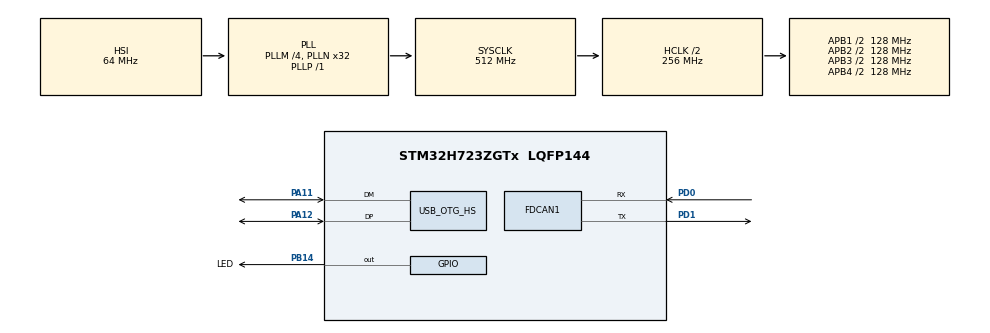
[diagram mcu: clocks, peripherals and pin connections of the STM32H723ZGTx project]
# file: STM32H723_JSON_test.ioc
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CORTEX_M7.default_mode_Activation=1
FDCAN1.CalculateBaudRateNominal=1000000
FDCAN1.CalculateTimeBitNominal=1000
FDCAN1.CalculateTimeQuantumNominal=333.3333333333333
FREERTOS.BinarySemaphores01=usb_tx_sem,Dynamic,NULL,Available
FREERTOS.Tasks01=task_can_handle,41,256,start_task_can_handler,Default,NULL,Dynamic,NULL,NULL;task_usb_handle,42,256,start_task_usb_handler,Default,NULL,Dynamic,NULL,NULL;task_dispatcher,16,2048,start_task_dispatcher,Default,NULL,Dynamic,NULL,NULL;task_watchdog,40,128,start_task_watchdog,Default,NULL,Dynamic,NULL,NULL;task_jobs_monit,8,128,start_task_jobs_monitor,Default,NULL,Dynamic,NULL,NULL;task_logger,9,256,start_task_logger,Default,NULL,Dynamic,NULL,NULL
FREERTOS.configTOTAL_HEAP_SIZE=32768
FREERTOS.configUSE_NEWLIB_REENTRANT=1
Mcu.Family=STM32H7
Mcu.Name=STM32H723ZGTx
Mcu.Package=LQFP144
NVIC.FDCAN1_IT0_IRQn=true\:5\:0\:false\:false\:true\:true\:true\:true\:true
NVIC.FDCAN1_IT1_IRQn=true\:5\:0\:false\:false\:true\:true\:true\:true\:true
NVIC.OTG_HS_IRQn=true\:5\:0\:false\:false\:true\:true\:false\:true\:true
NVIC.PriorityGroup=NVIC_PRIORITYGROUP_4
NVIC.TIM6_DAC_IRQn=true\:15\:0\:false\:false\:true\:false\:false\:true\:true
NVIC.TimeBase=TIM6_DAC_IRQn
NVIC.TimeBaseIP=TIM6
PA11.Mode=Device_Only_FS
PA11.Signal=USB_OTG_HS_DM
PA12.Mode=Device_Only_FS
PA12.Signal=USB_OTG_HS_DP
PB14.GPIO_Label=LED
PB14.Signal=GPIO_Output
PD0.Mode=FDCAN_Activate
PD0.Signal=FDCAN1_RX
PD1.Mode=FDCAN_Activate
PD1.Signal=FDCAN1_TX
ProjectManager.HeapSize=0x200
ProjectManager.StackSize=0x400
ProjectManager.TargetToolchain=STM32CubeIDE
RCC.ADCFreq_Value=96000000
RCC.APB1Freq_Value=128000000
RCC.APB2Freq_Value=128000000
RCC.APB3Freq_Value=128000000
RCC.APB4Freq_Value=128000000
RCC.CortexFreq_Value=512000000
RCC.D1PPRE=RCC_APB3_DIV2
RCC.D2PPRE1=RCC_APB1_DIV2
RCC.D2PPRE2=RCC_APB2_DIV2
RCC.D3PPRE=RCC_APB4_DIV2
RCC.DIVM1=4
RCC.DIVM2=4
RCC.DIVN1=32
RCC.DIVN2=12
RCC.DIVP1=1
RCC.DIVQ1=4
RCC.DIVQ2=4
RCC.FDCANCLockSelection=RCC_FDCANCLKSOURCE_PLL2
RCC.HCLKFreq_Value=256000000
RCC.HPRE=RCC_HCLK_DIV2
RCC.PLLFRACN=0
RCC.SYSCLKFreq_VALUE=512000000
RCC.SYSCLKSource=RCC_SYSCLKSOURCE_PLLCLK
RCC.USBCLockSelection=RCC_USBCLKSOURCE_HSI48
RCC.USBFreq_Value=48000000
USB_DEVICE.CLASS_NAME_HS=CDC
USB_DEVICE.VirtualMode=Cdc
USB_DEVICE.VirtualModeHS=Cdc_HS
USB_OTG_HS.VirtualMode-Device_Only_FS=Device_Only_FS
VP_FREERTOS_VS_CMSIS_V2.Mode=CMSIS_V2
VP_MEMORYMAP_VS_MEMORYMAP.Mode=CurAppReg
VP_SYS_VS_tim6.Mode=TIM6
VP_TIM3_VS_ClockSourceINT.Mode=Internal
VP_USB_DEVICE_VS_USB_DEVICE_CDC_HS.Mode=CDC_HS
board=custom

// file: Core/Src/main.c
/* USER CODE BEGIN Header */
/**
  ******************************************************************************
  * @file           : main.c
  * @brief          : Main program body
  ******************************************************************************
  * @attention
  *
  * Copyright (c) 2025 STMicroelectronics.
  * All rights reserved.
  *
  * This software is licensed under terms that can be found in the LICENSE file
  * in the root directory of this software component.
  * If no LICENSE file comes with this software, it is provided AS-IS.
  *
  ******************************************************************************
  */
/* USER CODE END Header */
#include "main.h"
#include "cmsis_os.h"
#include "usb_device.h"

/* USER CODE BEGIN Includes */
#include "task_dispatcher.h"
#include "task_can_handler.h"
#include "task_usb_handler.h"
#include "task_watchdog.h"
#include "task_jobs_monitor.h"
#include "task_logger.h"
#include "shared_resources.h"
#include "app_config.h"
#include "app_init_checker.h"

/* USER CODE END Includes */

FDCAN_HandleTypeDef hfdcan1;

TIM_HandleTypeDef htim3;

/* Definitions for task_can_handle */
osThreadId_t task_can_handleHandle;
const osThreadAttr_t task_can_handle_attributes = {
  .name = "task_can_handle",
  .stack_size = 256 * 4,
  .priority = (osPriority_t) osPriorityHigh1,
};
/* Definitions for task_usb_handle */
osThreadId_t task_usb_handleHandle;
const osThreadAttr_t task_usb_handle_attributes = {
  .name = "task_usb_handle",
  .stack_size = 256 * 4,
  .priority = (osPriority_t) osPriorityHigh2,
};
/* Definitions for task_dispatcher */
osThreadId_t task_dispatcherHandle;
const osThreadAttr_t task_dispatcher_attributes = {
  .name = "task_dispatcher",
  .stack_size = 2048 * 4,
  .priority = (osPriority_t) osPriorityBelowNormal,
};
/* Definitions for task_watchdog */
osThreadId_t task_watchdogHandle;
const osThreadAttr_t task_watchdog_attributes = {
  .name = "task_watchdog",
  .stack_size = 128 * 4,
  .priority = (osPriority_t) osPriorityHigh,
};
/* Definitions for task_jobs_monit */
osThreadId_t task_jobs_monitHandle;
const osThreadAttr_t task_jobs_monit_attributes = {
  .name = "task_jobs_monit",
  .stack_size = 128 * 4,
  .priority = (osPriority_t) osPriorityLow,
};
/* Definitions for task_logger */
osThreadId_t task_loggerHandle;
const osThreadAttr_t task_logger_attributes = {
  .name = "task_logger",
  .stack_size = 256 * 4,
  .priority = (osPriority_t) osPriorityLow1,
};
/* Definitions for usb_tx_sem */
osSemaphoreId_t usb_tx_semHandle;
const osSemaphoreAttr_t usb_tx_sem_attributes = {
  .name = "usb_tx_sem"
};
/* USER CODE BEGIN PV */

QueueHandle_t usb_rx_queue_handle;
QueueHandle_t usb_tx_queue_handle;
QueueHandle_t can_rx_queue_handle;
QueueHandle_t can_tx_queue_handle;
QueueHandle_t log_queue_handle;

/* USER CODE END PV */

void SystemClock_Config(void);
static void MPU_Config(void);
static void MX_GPIO_Init(void);
static void MX_FDCAN1_Init(void);
static void MX_TIM3_Init(void);
void start_task_can_handler(void *argument);
void start_task_usb_handler(void *argument);
void start_task_dispatcher(void *argument);
void start_task_watchdog(void *argument);
void start_task_jobs_monitor(void *argument);
void start_task_logger(void *argument);

int main(void)
{

  /* MPU Configuration--------------------------------------------------------*/
  MPU_Config();

  /* MCU Configuration--------------------------------------------------------*/

  /* Reset of all peripherals, Initializes the Flash interface and the Systick. */
  HAL_Init();

  /* Configure the system clock */
  SystemClock_Config();

  /* Initialize all configured peripherals */
  MX_GPIO_Init();
  MX_FDCAN1_Init();
  MX_TIM3_Init();
  /* USER CODE BEGIN 2 */

  HAL_TIM_Base_Start(&htim3);

  /* init code for USB_DEVICE */
  //MX_USB_DEVICE_Init();

  /* init code for USB_DEVICE */

  /* USER CODE END 2 */

  /* Init scheduler */
  osKernelInitialize();

  /* Create the semaphores(s) */
  /* creation of usb_tx_sem */
  usb_tx_semHandle = osSemaphoreNew(1, 1, &usb_tx_sem_attributes);

  /* USER CODE BEGIN RTOS_QUEUES */
  /* add queues, ... */
  usb_rx_queue_handle = xQueueCreate(APP_USB_RX_QUEUE_LENGTH, APP_USB_CMD_MAX_LEN); // 10 команд, каждая до 256 байт
  usb_tx_queue_handle = xQueueCreate(APP_USB_TX_QUEUE_LENGTH, APP_USB_RESP_MAX_LEN); // 10 ответов, каждая до 256 байт (пока)

// Для CAN передаются структурированные сообщения.
// Пока что представим, что это будет 8-байтный массив (payload CAN-сообщения).
// Позже мы определим структуру CanMessage_t.
  can_rx_queue_handle = xQueueCreate(APP_CAN_RX_QUEUE_LENGTH, APP_CAN_MESSAGE_MAX_LEN); // 20 CAN-сообщений
  can_tx_queue_handle = xQueueCreate(APP_CAN_TX_QUEUE_LENGTH, APP_CAN_MESSAGE_MAX_LEN); // 20 CAN-сообщений

  //log_queue_handle = xQueueCreate(APP_LOG_QUEUE_LENGTH , APP_LOG_MESSAGE_MAX_LEN); // 30 сообщений для лога, каждое до 128 байт

// Важно: всегда проверяйте, что очереди успешно создались!
// Если какая-либо очередь не создалась (handle == NULL),
// это указывает на нехватку памяти FreeRTOS (heap).

  /*

  if (can_rx_queue_handle == NULL      ||
		  can_tx_queue_handle == NULL  ||
		  usb_rx_queue_handle == NULL  ||
		  usb_tx_queue_handle == NULL)
		  {
	  Error_Handler();
	  }

	  */

// Вызываем функцию проверки всех очередей
 //app_init_checker_verifyqueues();

  /* USER CODE END RTOS_QUEUES */

  /* Create the thread(s) */
  /* creation of task_can_handle */
  task_can_handleHandle = osThreadNew(start_task_can_handler, NULL, &task_can_handle_attributes);

  /* creation of task_usb_handle */
  task_usb_handleHandle = osThreadNew(start_task_usb_handler, NULL, &task_usb_handle_attributes);

  /* creation of task_dispatcher */
  task_dispatcherHandle = osThreadNew(start_task_dispatcher, NULL, &task_dispatcher_attributes);

  /* creation of task_watchdog */
  task_watchdogHandle = osThreadNew(start_task_watchdog, NULL, &task_watchdog_attributes);

  /* creation of task_jobs_monit */
  task_jobs_monitHandle = osThreadNew(start_task_jobs_monitor, NULL, &task_jobs_monit_attributes);

  /* creation of task_logger */
  task_loggerHandle = osThreadNew(start_task_logger, NULL, &task_logger_attributes);

  /* Start scheduler */
  osKernelStart();

  /* We should never get here as control is now taken by the scheduler */

  /* Infinite loop */
  while (1)
  {

  }
}

void SystemClock_Config(void)
{
  RCC_OscInitTypeDef RCC_OscInitStruct = {0};
  RCC_ClkInitTypeDef RCC_ClkInitStruct = {0};

  /** Supply configuration update enable
  */
  HAL_PWREx_ConfigSupply(PWR_LDO_SUPPLY);

  /** Configure the main internal regulator output voltage
  */
  __HAL_PWR_VOLTAGESCALING_CONFIG(PWR_REGULATOR_VOLTAGE_SCALE0);

  while(!__HAL_PWR_GET_FLAG(PWR_FLAG_VOSRDY)) {}

  /** Initializes the RCC Oscillators according to the specified parameters
  * in the RCC_OscInitTypeDef structure.
  */
  RCC_OscInitStruct.OscillatorType = RCC_OSCILLATORTYPE_HSI48|RCC_OSCILLATORTYPE_HSI;
  RCC_OscInitStruct.HSIState = RCC_HSI_DIV1;
  RCC_OscInitStruct.HSICalibrationValue = 64;
  RCC_OscInitStruct.HSI48State = RCC_HSI48_ON;
  RCC_OscInitStruct.PLL.PLLState = RCC_PLL_ON;
  RCC_OscInitStruct.PLL.PLLSource = RCC_PLLSOURCE_HSI;
  RCC_OscInitStruct.PLL.PLLM = 4;
  RCC_OscInitStruct.PLL.PLLN = 32;
  RCC_OscInitStruct.PLL.PLLP = 1;
  RCC_OscInitStruct.PLL.PLLQ = 4;
  RCC_OscInitStruct.PLL.PLLR = 2;
  RCC_OscInitStruct.PLL.PLLRGE = RCC_PLL1VCIRANGE_3;
  RCC_OscInitStruct.PLL.PLLVCOSEL = RCC_PLL1VCOWIDE;
  RCC_OscInitStruct.PLL.PLLFRACN = 0;
  if (HAL_RCC_OscConfig(&RCC_OscInitStruct) != HAL_OK)
  {
    Error_Handler();
  }

  /** Initializes the CPU, AHB and APB buses clocks
  */
  RCC_ClkInitStruct.ClockType = RCC_CLOCKTYPE_HCLK|RCC_CLOCKTYPE_SYSCLK
                              |RCC_CLOCKTYPE_PCLK1|RCC_CLOCKTYPE_PCLK2
                              |RCC_CLOCKTYPE_D3PCLK1|RCC_CLOCKTYPE_D1PCLK1;
  RCC_ClkInitStruct.SYSCLKSource = RCC_SYSCLKSOURCE_PLLCLK;
  RCC_ClkInitStruct.SYSCLKDivider = RCC_SYSCLK_DIV1;
  RCC_ClkInitStruct.AHBCLKDivider = RCC_HCLK_DIV2;
  RCC_ClkInitStruct.APB3CLKDivider = RCC_APB3_DIV2;
  RCC_ClkInitStruct.APB1CLKDivider = RCC_APB1_DIV2;
  RCC_ClkInitStruct.APB2CLKDivider = RCC_APB2_DIV2;
  RCC_ClkInitStruct.APB4CLKDivider = RCC_APB4_DIV2;

  if (HAL_RCC_ClockConfig(&RCC_ClkInitStruct, FLASH_LATENCY_3) != HAL_OK)
  {
    Error_Handler();
  }
}

static void MX_FDCAN1_Init(void)
{

  hfdcan1.Instance = FDCAN1;
  hfdcan1.Init.FrameFormat = FDCAN_FRAME_CLASSIC;
  hfdcan1.Init.Mode = FDCAN_MODE_NORMAL;
  hfdcan1.Init.AutoRetransmission = DISABLE;
  hfdcan1.Init.TransmitPause = DISABLE;
  hfdcan1.Init.ProtocolException = DISABLE;
  hfdcan1.Init.NominalPrescaler = 16;
  hfdcan1.Init.NominalSyncJumpWidth = 1;
  hfdcan1.Init.NominalTimeSeg1 = 1;
  hfdcan1.Init.NominalTimeSeg2 = 1;
  hfdcan1.Init.DataPrescaler = 1;
  hfdcan1.Init.DataSyncJumpWidth = 1;
  hfdcan1.Init.DataTimeSeg1 = 1;
  hfdcan1.Init.DataTimeSeg2 = 1;
  hfdcan1.Init.MessageRAMOffset = 0;
  hfdcan1.Init.StdFiltersNbr = 0;
  hfdcan1.Init.ExtFiltersNbr = 0;
  hfdcan1.Init.RxFifo0ElmtsNbr = 0;
  hfdcan1.Init.RxFifo0ElmtSize = FDCAN_DATA_BYTES_8;
  hfdcan1.Init.RxFifo1ElmtsNbr = 0;
  hfdcan1.Init.RxFifo1ElmtSize = FDCAN_DATA_BYTES_8;
  hfdcan1.Init.RxBuffersNbr = 0;
  hfdcan1.Init.RxBufferSize = FDCAN_DATA_BYTES_8;
  hfdcan1.Init.TxEventsNbr = 0;
  hfdcan1.Init.TxBuffersNbr = 0;
  hfdcan1.Init.TxFifoQueueElmtsNbr = 0;
  hfdcan1.Init.TxFifoQueueMode = FDCAN_TX_FIFO_OPERATION;
  hfdcan1.Init.TxElmtSize = FDCAN_DATA_BYTES_8;
  if (HAL_FDCAN_Init(&hfdcan1) != HAL_OK)
  {
    Error_Handler();
  }

}

static void MX_TIM3_Init(void)
{

  TIM_ClockConfigTypeDef sClockSourceConfig = {0};
  TIM_MasterConfigTypeDef sMasterConfig = {0};

  htim3.Instance = TIM3;
  htim3.Init.Prescaler = 0;
  htim3.Init.CounterMode = TIM_COUNTERMODE_UP;
  htim3.Init.Period = 65535;
  htim3.Init.ClockDivision = TIM_CLOCKDIVISION_DIV1;
  htim3.Init.AutoReloadPreload = TIM_AUTORELOAD_PRELOAD_DISABLE;
  if (HAL_TIM_Base_Init(&htim3) != HAL_OK)
  {
    Error_Handler();
  }
  sClockSourceConfig.ClockSource = TIM_CLOCKSOURCE_INTERNAL;
  if (HAL_TIM_ConfigClockSource(&htim3, &sClockSourceConfig) != HAL_OK)
  {
    Error_Handler();
  }
  sMasterConfig.MasterOutputTrigger = TIM_TRGO_RESET;
  sMasterConfig.MasterSlaveMode = TIM_MASTERSLAVEMODE_DISABLE;
  if (HAL_TIMEx_MasterConfigSynchronization(&htim3, &sMasterConfig) != HAL_OK)
  {
    Error_Handler();
  }

}

static void MX_GPIO_Init(void)
{
  GPIO_InitTypeDef GPIO_InitStruct = {0};

  /* GPIO Ports Clock Enable */
  __HAL_RCC_GPIOB_CLK_ENABLE();
  __HAL_RCC_GPIOA_CLK_ENABLE();
  __HAL_RCC_GPIOD_CLK_ENABLE();

  /*Configure GPIO pin Output Level */
  HAL_GPIO_WritePin(LED_GPIO_Port, LED_Pin, GPIO_PIN_RESET);

  /*Configure GPIO pin : LED_Pin */
  GPIO_InitStruct.Pin = LED_Pin;
  GPIO_InitStruct.Mode = GPIO_MODE_OUTPUT_PP;
  GPIO_InitStruct.Pull = GPIO_NOPULL;
  GPIO_InitStruct.Speed = GPIO_SPEED_FREQ_LOW;
  HAL_GPIO_Init(LED_GPIO_Port, &GPIO_InitStruct);

}

void start_task_can_handler(void *argument)
{
  /* init code for USB_DEVICE */
  //MX_USB_DEVICE_Init();
  /* USER CODE BEGIN 5 */
	app_start_task_can_handler(argument);
  /* Infinite loop */
  for(;;)
  {
    osDelay(1);
  }
  /* USER CODE END 5 */
}

void start_task_usb_handler(void *argument)
{
  /* USER CODE BEGIN start_task_usb_handler */

  app_start_task_usb_handler(argument);

  /* Infinite loop */
  for(;;)
  {
    osDelay(1);
  }
  /* USER CODE END start_task_usb_handler */
}

void start_task_dispatcher(void *argument)
{
  /* USER CODE BEGIN start_task_dispatcher */

 app_start_task_dispatcher(argument);

 /* Infinite loop */
 // этот код никогда не выполнится, но мы его не трогаем

  for(;;)
  {
    osDelay(1);
  }
  /* USER CODE END start_task_dispatcher */
}

void start_task_watchdog(void *argument)
{
  for(;;)
  {
    osDelay(1);
  }
}

void start_task_jobs_monitor(void *argument)
{
  /* USER CODE BEGIN start_task_jobs_monitor */

	app_start_task_jobs_monitor(argument);
  /* Infinite loop */
  for(;;)
  {
    osDelay(1);
  }
  /* USER CODE END start_task_jobs_monitor */
}

void start_task_logger(void *argument)
{
  /* USER CODE BEGIN start_task_logger */
  app_start_task_logger(argument);
  /* Infinite loop */
  for(;;)
  {
    osDelay(1);
  }
  /* USER CODE END start_task_logger */
}

 /* MPU Configuration */

void MPU_Config(void)
{
  MPU_Region_InitTypeDef MPU_InitStruct = {0};

  /* Disables the MPU */
  HAL_MPU_Disable();

  /** Initializes and configures the Region and the memory to be protected
  */
  MPU_InitStruct.Enable = MPU_REGION_ENABLE;
  MPU_InitStruct.Number = MPU_REGION_NUMBER0;
  MPU_InitStruct.BaseAddress = 0x0;
  MPU_InitStruct.Size = MPU_REGION_SIZE_4GB;
  MPU_InitStruct.SubRegionDisable = 0x87;
  MPU_InitStruct.TypeExtField = MPU_TEX_LEVEL0;
  MPU_InitStruct.AccessPermission = MPU_REGION_NO_ACCESS;
  MPU_InitStruct.DisableExec = MPU_INSTRUCTION_ACCESS_DISABLE;
  MPU_InitStruct.IsShareable = MPU_ACCESS_SHAREABLE;
  MPU_InitStruct.IsCacheable = MPU_ACCESS_NOT_CACHEABLE;
  MPU_InitStruct.IsBufferable = MPU_ACCESS_NOT_BUFFERABLE;

  HAL_MPU_ConfigRegion(&MPU_InitStruct);
  /* Enables the MPU */
  HAL_MPU_Enable(MPU_PRIVILEGED_DEFAULT);

}

void HAL_TIM_PeriodElapsedCallback(TIM_HandleTypeDef *htim)
{
  if (htim->Instance == TIM6)
  {
    HAL_IncTick();
  }
}

void Error_Handler(void)
{
  __disable_irq();
  while (1)
  {
  }
}
